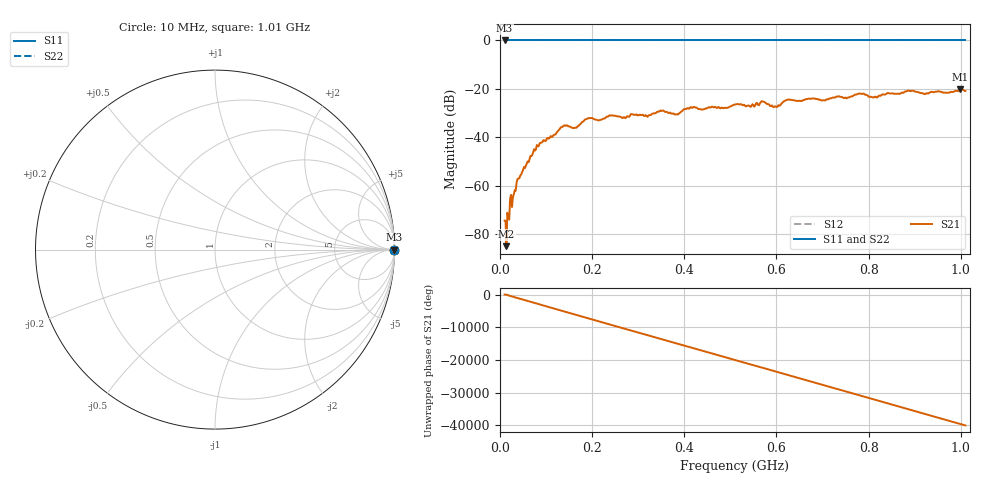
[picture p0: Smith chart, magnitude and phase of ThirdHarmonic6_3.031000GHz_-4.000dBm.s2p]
! 8/17/2025 8:44:57 AM
! C:\ANRITSUVNA\TEMP\TEMP.S2P
! CHANNEL.1
! TR.MEASUREMENT
! RAW.DATA
! RF.CORRECTION.OFF
! AVERAGING.OFF
! IF.BANDWIDTH: 5KHZ
! SWEEPTYPE:  FREQ.SWEEP(Linear)
! Reference Plane Port Info
! PORT:  PORT1  PORT2
! DISTANCE:  0  m  0  m
! TIME:  0  s  0  s
! PHASE.OFFSET:  0  deg.  0  deg.
! LOSS:  0  dB  0  dB
! REF.LOSS:  0  dB  0  dB
! REF.FREQ:  0  Hz  0  Hz
! Power Info
! POWER:  -20  dBm  -20  dBm
! EFF.POWER:  -20  dBm  -20  dBm
! SOURCE.ATTEN:  0  dB  0  dB
! TEST.ATTEN:  0  dB  0  dB
# GHZ S RI R 50.0
! FREQ.GHZ  S11RE  S11IM  S21RE  S21IM  S12RE  S12IM  S22RE  S22IM
!; PortSelection: Port_12
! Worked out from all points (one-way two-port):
!   501 points, 10 MHz to 1.01 GHz, reference 50 ohm
!   highest |S21| = -20.14 dB at 998 MHz (marker M1); lowest = -85.0 dB at 14 MHz (marker M2)
!   lowest |S11| = 0.0 dB at 10 MHz (marker M3)
!   |S11| at or under -10 dB: nowhere
!   |S22| runs from 0.0 to 0.0 dB; largest |S21 - S12| = 1.1
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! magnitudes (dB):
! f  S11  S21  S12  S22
! 10 MHz  0.0  -74.4  0.0  0.0
! 14 MHz  0.0  -85.0  0.0  0.0
! 16 MHz  0.0  -71.2  0.0  0.0
! 26 MHz  0.0  -68.8  0.0  0.0
! 40 MHz  0.0  -57.1  0.0  0.0
! 76 MHz  0.0  -45.5  0.0  0.0
! 136 MHz  0.0  -35.7  0.0  0.0
! 162 MHz  0.0  -36.1  0.0  0.0
! 178 MHz  0.0  -33.7  0.0  0.0
! 194 MHz  0.0  -32.1  0.0  0.0
! 322 MHz  0.0  -31.1  0.0  0.0
! 344 MHz  0.0  -29.5  0.0  0.0
! 382 MHz  0.0  -30.6  0.0  0.0
! 418 MHz  0.0  -27.9  0.0  0.0
! 510 MHz  0.0  -26.5  0.0  0.0
! 570 MHz  0.0  -25.2  0.0  0.0
! 598 MHz  0.0  -27.2  0.0  0.0
! 624 MHz  0.0  -24.5  0.0  0.0
! 678 MHz  0.0  -24.0  0.0  0.0
! 844 MHz  0.0  -21.8  0.0  0.0
! 998 MHz  0.0  -20.1  0.0  0.0
! 1.01 GHz  0.0  -20.9  0.0  0.0
